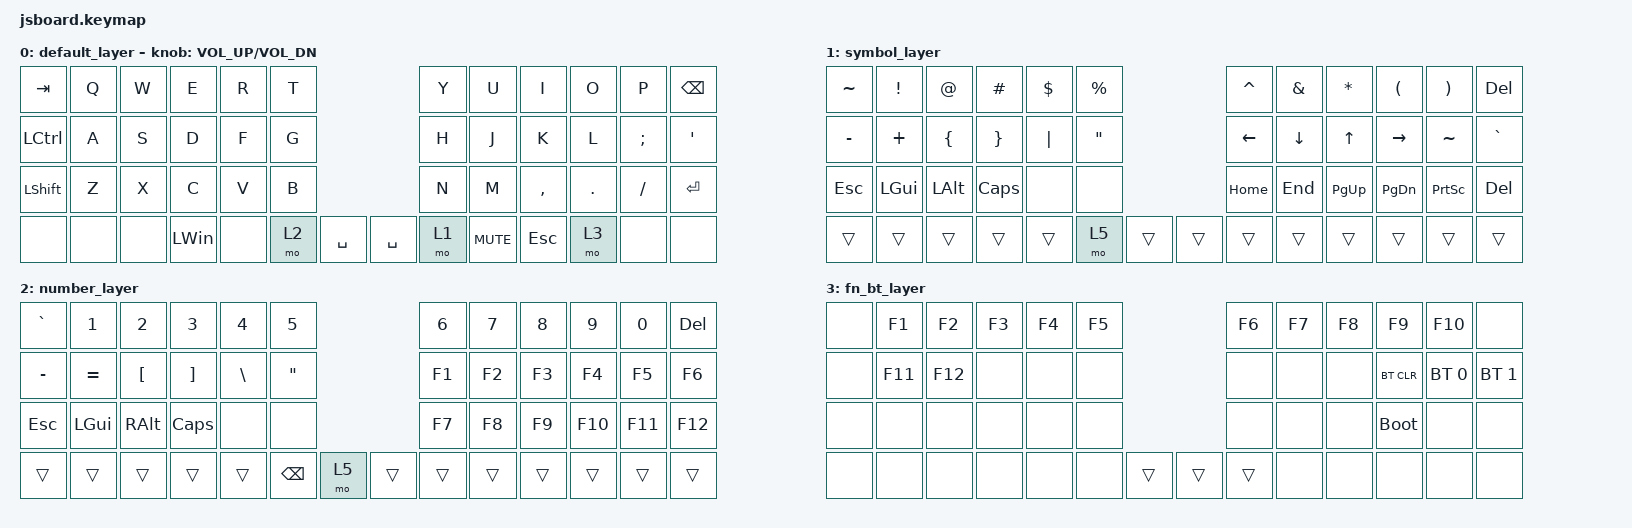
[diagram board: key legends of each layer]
/*
 * Copyright (c) 2023 The ZMK Contributors
 *
 * SPDX-License-Identifier: MIT
 */

#include <behaviors.dtsi>
#include <dt-bindings/zmk/bt.h>
#include <dt-bindings/zmk/keys.h>
#include <dt-bindings/zmk/rgb.h>

/ {
    chosen {
        zmk,matrix-transform = &default_transform;
    };
};

/ {
    keymap {
    compatible = "zmk,keymap";

    // Base layer
    default_layer {
        bindings = <
            &kp TAB   &kp Q     &kp W     &kp E     &kp R     &kp T                    &kp Y     &kp U     &kp I     &kp O     &kp P     &kp BSPC
            &kp LCTRL &kp A     &kp S     &kp D     &kp F     &kp G                    &kp H     &kp J     &kp K     &kp L     &kp SCLN  &kp QUOT
            &kp LSHFT &kp Z     &kp X     &kp C     &kp V     &kp B                    &kp N     &kp M     &kp COMMA &kp DOT   &kp FSLH  &kp ENTER
            &none     &none     &none     &kp LWIN  &none     &mo 2 &kp SPACE &kp SPACE &mo 1   &kp C_MUTE &kp ESC   &mo 3     &none     &none
        >;

        sensor-bindings = <&inc_dec_kp C_VOL_UP C_VOL_DN>;
    };

    // Symbol layer
    symbol_layer {
        bindings = <
            &kp TILDE  &kp EXCL   &kp AT     &kp HASH   &kp DOLLAR &kp PERCENT               &kp CARET  &kp AMPS   &kp STAR   &kp LPAR   &kp RPAR   &kp DEL
            &kp MINUS  &kp PLUS   &kp LBRC   &kp RBRC   &kp PIPE   &kp DQT                   &kp LEFT   &kp DOWN   &kp UP     &kp RIGHT  &kp TILDE  &kp GRAVE
            &kp ESC    &kp LGUI   &kp LALT   &kp CAPS   &none      &none                     &kp HOME   &kp END    &kp PG_UP  &kp PG_DN  &kp PSCRN  &kp DEL
            &trans     &trans     &trans     &trans     &trans     &mo 5     &trans   &trans &trans     &trans     &trans     &trans     &trans     &trans
        >;
    };

    // Number layer
    number_layer {
        bindings = <
            &kp GRAVE  &kp N1    &kp N2    &kp N3    &kp N4    &kp N5                  &kp N6    &kp N7    &kp N8    &kp N9    &kp N0    &kp DEL
            &kp MINUS  &kp EQUAL &kp LBKT  &kp RBKT  &kp BSLH  &kp DQT                 &kp F1    &kp F2    &kp F3    &kp F4    &kp F5    &kp F6
            &kp ESC    &kp LGUI  &kp RALT  &kp CAPS  &none     &none                   &kp F7    &kp F8    &kp F9    &kp F10   &kp F11   &kp F12
            &trans     &trans    &trans    &trans    &trans    &kp BSPC  &mo 5   &trans &trans   &trans    &trans    &trans    &trans    &trans
        >;
    };

    // Function + Bluetooth
    fn_bt_layer {
        bindings = <
            &none     &kp F1    &kp F2    &kp F3    &kp F4    &kp F5                  &kp F6    &kp F7    &kp F8    &kp F9    &kp F10    &none
            &none     &kp F11   &kp F12   &none     &none     &none                   &none     &none     &none &bt BT_CLR &bt BT_SEL 0 &bt BT_SEL 1
            &none     &none     &none     &none     &none     &none                   &none     &none     &none     &bootloader &none    &none
            &none     &none     &none     &none     &none     &none  &trans   &trans  &trans    &none     &none     &none       &none    &none
        >;
    };
    };
};
